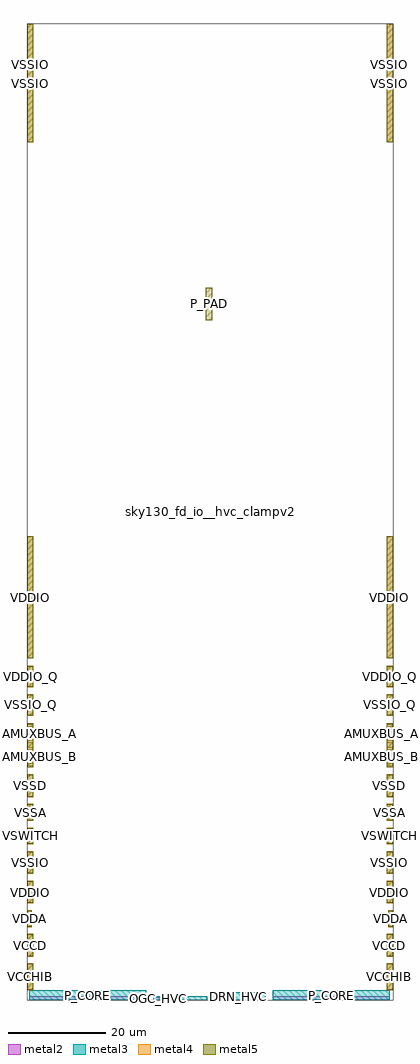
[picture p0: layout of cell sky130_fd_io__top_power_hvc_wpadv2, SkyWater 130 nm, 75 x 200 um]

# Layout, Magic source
magic
tech sky130A
magscale 1 2
<< metal2 >>
rect 99 0 4879 148
rect 5179 0 5579 107
rect 10078 0 14858 148
<< metal3 >>
rect 99 0 4879 391
rect 5179 0 7379 148
rect 7578 0 9778 318
rect 10078 0 14858 391
<< metal4 >>
rect 0 35157 254 40000
rect 14746 35157 15000 40000
rect 0 14007 254 19000
rect 14746 14007 15000 19000
rect 0 12817 254 13707
rect 14746 12817 15000 13707
rect 0 11647 254 12537
rect 14746 11647 15000 12537
rect 0 11281 254 11347
rect 14746 11281 15000 11347
rect 0 10625 254 11221
rect 14746 10625 15000 11221
rect 0 10329 254 10565
rect 14746 10329 15000 10565
rect 0 9673 254 10269
rect 14746 9673 15000 10269
rect 0 9547 254 9613
rect 14746 9547 15000 9613
rect 0 8317 254 9247
rect 14746 8317 15000 9247
rect 0 7347 254 8037
rect 14746 7347 15000 8037
rect 0 6377 254 7067
rect 14746 6377 15000 7067
rect 0 5167 254 6097
rect 14746 5167 15000 6097
rect 0 3957 254 4887
rect 14746 3957 15000 4887
rect 0 2987 193 3677
rect 14807 2987 15000 3677
rect 0 1777 254 2707
rect 14746 1777 15000 2707
rect 0 407 254 1497
rect 14746 407 15000 1497
<< metal5 >>
rect 0 35157 254 40000
rect 14746 35157 15000 40000
rect 7329 27865 7594 29187
rect 0 14007 254 18997
rect 14746 14007 15000 18997
rect 0 12837 254 13687
rect 14746 12837 15000 13687
rect 0 11667 254 12517
rect 14746 11667 15000 12517
rect 0 9547 254 11347
rect 14746 9547 15000 11347
rect 0 8337 254 9227
rect 14746 8337 15000 9227
rect 0 7368 254 8017
rect 14746 7368 15000 8017
rect 0 6397 254 7047
rect 14746 6397 15000 7047
rect 0 5187 254 6077
rect 14746 5187 15000 6077
rect 0 3977 254 4867
rect 14746 3977 15000 4867
rect 0 3007 193 3657
rect 14807 3007 15000 3657
rect 0 1797 254 2687
rect 14746 1797 15000 2687
rect 0 427 254 1477
rect 14746 427 15000 1477
use sky130_fd_io__hvc_clampv2  sky130_fd_io__hvc_clampv2_0
transform 1 0 0 0 1 0
box 0 0 15000 40000
<< labels >>
flabel metal3 s 99 0 4879 391 0 FreeSans 2000 0 0 0 P_CORE
port 1 nsew
flabel metal3 s 7578 0 9778 318 0 FreeSans 2000 0 0 0 DRN_HVC
port 2 nsew
flabel metal3 s 10078 0 14858 391 0 FreeSans 2000 0 0 0 P_CORE
port 1 nsew
flabel metal3 s 5179 0 7379 148 2 FreeSans 2000 90 0 0 SRC_BDY_HVC
port 3 nsew
flabel metal2 s 10078 0 14858 148 2 FreeSans 2000 90 0 0 DRN_HVC
port 2 nsew
flabel metal2 s 99 0 4879 148 2 FreeSans 2000 90 0 0 SRC_BDY_HVC
port 3 nsew
flabel metal2 s 5179 0 5579 107 2 FreeSans 1000 90 0 0 OGC_HVC
port 4 nsew
flabel metal4 s 0 7347 254 8037 3 FreeSans 520 0 0 0 VSSA
port 5 nsew
flabel metal4 s 0 8317 254 9247 3 FreeSans 520 0 0 0 VSSD
port 6 nsew
flabel metal4 s 0 9673 254 10269 3 FreeSans 520 0 0 0 AMUXBUS_B
port 7 nsew
flabel metal4 s 0 10625 254 11221 3 FreeSans 520 0 0 0 AMUXBUS_A
port 8 nsew
flabel metal4 s 0 12817 254 13707 3 FreeSans 520 0 0 0 VDDIO_Q
port 9 nsew
flabel metal4 s 0 14007 254 19000 3 FreeSans 520 0 0 0 VDDIO
port 10 nsew
flabel metal4 s 0 6377 254 7067 3 FreeSans 520 0 0 0 VSWITCH
port 11 nsew
flabel metal4 s 0 5167 254 6097 3 FreeSans 520 0 0 0 VSSIO
port 12 nsew
flabel metal4 s 0 3957 254 4887 3 FreeSans 520 0 0 0 VDDIO
port 10 nsew
flabel metal4 s 0 2987 193 3677 3 FreeSans 520 0 0 0 VDDA
port 13 nsew
flabel metal4 s 0 1777 254 2707 3 FreeSans 520 0 0 0 VCCD
port 14 nsew
flabel metal4 s 0 407 254 1497 3 FreeSans 520 0 0 0 VCCHIB
port 15 nsew
flabel metal4 s 0 11281 254 11347 3 FreeSans 520 0 0 0 VSSA
port 5 nsew
flabel metal4 s 0 11647 254 12537 3 FreeSans 520 0 0 0 VSSIO_Q
port 16 nsew
flabel metal4 s 0 9547 254 9613 3 FreeSans 520 0 0 0 VSSA
port 5 nsew
flabel metal4 s 0 10329 254 10565 3 FreeSans 520 0 0 0 VSSA
port 5 nsew
flabel metal4 s 14746 7347 15000 8037 3 FreeSans 520 180 0 0 VSSA
port 5 nsew
flabel metal4 s 14746 8317 15000 9247 3 FreeSans 520 180 0 0 VSSD
port 6 nsew
flabel metal4 s 14746 9673 15000 10269 3 FreeSans 520 180 0 0 AMUXBUS_B
port 7 nsew
flabel metal4 s 14746 10625 15000 11221 3 FreeSans 520 180 0 0 AMUXBUS_A
port 8 nsew
flabel metal4 s 14746 12817 15000 13707 3 FreeSans 520 180 0 0 VDDIO_Q
port 9 nsew
flabel metal4 s 14746 14007 15000 19000 3 FreeSans 520 180 0 0 VDDIO
port 10 nsew
flabel metal4 s 14746 6377 15000 7067 3 FreeSans 520 180 0 0 VSWITCH
port 11 nsew
flabel metal4 s 14746 5167 15000 6097 3 FreeSans 520 180 0 0 VSSIO
port 12 nsew
flabel metal4 s 14746 3957 15000 4887 3 FreeSans 520 180 0 0 VDDIO
port 10 nsew
flabel metal4 s 14807 2987 15000 3677 3 FreeSans 520 180 0 0 VDDA
port 13 nsew
flabel metal4 s 14746 1777 15000 2707 3 FreeSans 520 180 0 0 VCCD
port 14 nsew
flabel metal4 s 14746 407 15000 1497 3 FreeSans 520 180 0 0 VCCHIB
port 15 nsew
flabel metal4 s 14746 11281 15000 11347 3 FreeSans 520 180 0 0 VSSA
port 5 nsew
flabel metal4 s 14746 11647 15000 12537 3 FreeSans 520 180 0 0 VSSIO_Q
port 16 nsew
flabel metal4 s 14746 9547 15000 9613 3 FreeSans 520 180 0 0 VSSA
port 5 nsew
flabel metal4 s 0 35157 254 40000 3 FreeSans 520 0 0 0 VSSIO
port 12 nsew
flabel metal4 s 127 38321 127 38321 3 FreeSans 520 0 0 0 VSSIO
port 12 nsew
flabel metal4 s 14746 35157 15000 40000 3 FreeSans 520 180 0 0 VSSIO
port 12 nsew
flabel metal4 s 14873 38321 14873 38321 3 FreeSans 520 180 0 0 VSSIO
port 12 nsew
flabel metal4 s 14746 10329 15000 10565 3 FreeSans 520 180 0 0 VSSA
port 5 nsew
flabel metal5 s 7329 27865 7594 29187 0 FreeSans 2000 0 0 0 P_PAD
port 17 nsew
flabel metal5 s 14746 5187 15000 6077 3 FreeSans 520 180 0 0 VSSIO
port 12 nsew
flabel metal5 s 14746 35157 15000 40000 3 FreeSans 520 180 0 0 VSSIO
port 12 nsew
flabel metal5 s 14746 12837 15000 13687 3 FreeSans 520 180 0 0 VDDIO_Q
port 9 nsew
flabel metal5 s 14746 11667 15000 12517 3 FreeSans 520 180 0 0 VSSIO_Q
port 16 nsew
flabel metal5 s 14746 6397 15000 7047 3 FreeSans 520 180 0 0 VSWITCH
port 11 nsew
flabel metal5 s 14746 7368 15000 8017 3 FreeSans 520 180 0 0 VSSA
port 5 nsew
flabel metal5 s 0 35157 254 40000 3 FreeSans 520 0 0 0 VSSIO
port 12 nsew
flabel metal5 s 0 9547 254 11347 3 FreeSans 520 0 0 0 VSSA
port 5 nsew
flabel metal5 s 0 3977 254 4867 3 FreeSans 520 0 0 0 VDDIO
port 10 nsew
flabel metal5 s 0 1797 254 2687 3 FreeSans 520 0 0 0 VCCD
port 14 nsew
flabel metal5 s 0 427 254 1477 3 FreeSans 520 0 0 0 VCCHIB
port 15 nsew
flabel metal5 s 0 3007 193 3657 3 FreeSans 520 0 0 0 VDDA
port 13 nsew
flabel metal5 s 0 14007 254 18997 3 FreeSans 520 0 0 0 VDDIO
port 10 nsew
flabel metal5 s 0 12837 254 13687 3 FreeSans 520 0 0 0 VDDIO_Q
port 9 nsew
flabel metal5 s 0 7368 254 8017 3 FreeSans 520 0 0 0 VSSA
port 5 nsew
flabel metal5 s 0 8337 254 9227 3 FreeSans 520 0 0 0 VSSD
port 6 nsew
flabel metal5 s 0 5187 254 6077 3 FreeSans 520 0 0 0 VSSIO
port 12 nsew
flabel metal5 s 0 6397 254 7047 3 FreeSans 520 0 0 0 VSWITCH
port 11 nsew
flabel metal5 s 0 11667 254 12517 3 FreeSans 520 0 0 0 VSSIO_Q
port 16 nsew
flabel metal5 s 14746 9547 15000 11347 3 FreeSans 520 180 0 0 VSSA
port 5 nsew
flabel metal5 s 14746 3977 15000 4867 3 FreeSans 520 180 0 0 VDDIO
port 10 nsew
flabel metal5 s 14746 1797 15000 2687 3 FreeSans 520 180 0 0 VCCD
port 14 nsew
flabel metal5 s 14746 427 15000 1477 3 FreeSans 520 180 0 0 VCCHIB
port 15 nsew
flabel metal5 s 14807 3007 15000 3657 3 FreeSans 520 180 0 0 VDDA
port 13 nsew
flabel metal5 s 14746 14007 15000 18997 3 FreeSans 520 180 0 0 VDDIO
port 10 nsew
flabel metal5 s 14746 8337 15000 9227 3 FreeSans 520 180 0 0 VSSD
port 6 nsew
<< properties >>
string GDS_FILE $PDKPATH/libs.ref/sky130_fd_io/gds/sky130_fd_io.gds
string GDS_END 24123152
string GDS_START 24113676
<< end >>
